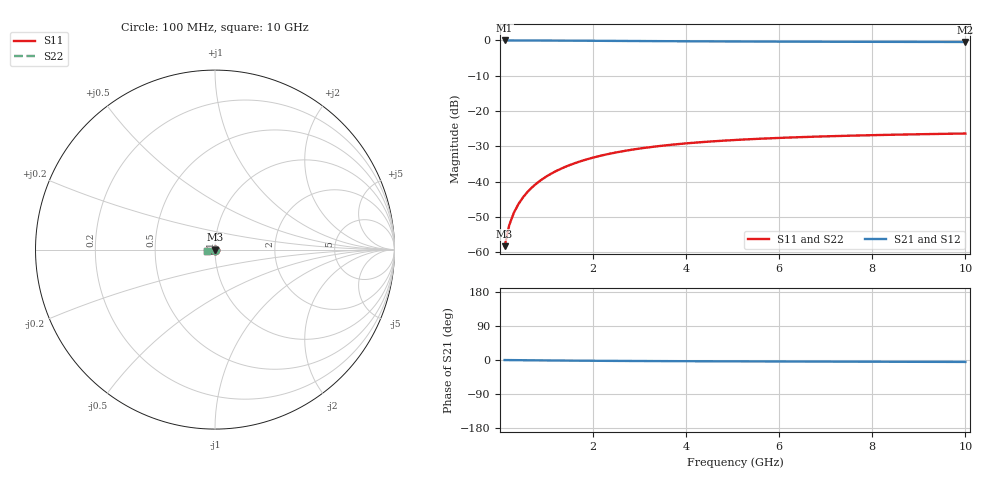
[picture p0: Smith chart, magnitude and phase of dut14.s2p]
! Touchstone file exported from HFSS 2024.1.0
!  File:  C:/UserFiles/LocalFiles/RDL_TSV_Batchsim/temp_TSV1_14_1779368493.aedt
!  Generated:  09:05:37 PM May 21, 2026
!  Design:  TSV1
!  Project:  temp_TSV1_14_1779368493
!  Setup:  Setup1
!  Solution:  Sweep
! Variables:
!  dtsv = 9.48um
!  hbump = 3um
!  htsv = 80.71um
!  lrdl = 252.1521522um
!  p = 40
!  p1 = 41.41um
!  t = 500um
!  trdl = 3um
!  wrdl = 24.89489489um
# GHz S MA R 50.000000
! Terminal data exported
! Port[1] = TSV22_T1
! Port[2] = TSV22_T2
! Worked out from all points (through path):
!   100 points, 100 MHz to 10 GHz, reference 50 ohm
!   highest |S21| = 0.00 dB at 100 MHz (marker M1); lowest = -0.4 dB at 10 GHz (marker M2)
!   lowest |S11| = -58.3 dB at 100 MHz (marker M3), VSWR 1.00, Z = 50 - j0.122 ohm
!   |S11| at or under -10 dB: start of sweep to end of sweep
!   |S22| runs from -58.3 to -26.4 dB; largest |S21 - S12| = 3.2e-15
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0.1  0.001223 -83.8  0.9998 -0.1  0.9998 -0.1  0.001223 -83.8
! Gamma 0 0 0 0
! Port Impedance 50 0 50 0
0.2  0.002432 -88.9  0.9997 -0.2  0.9997 -0.2  0.002432 -88.9
0.3  0.003647 -91.7  0.9995 -0.4  0.9995 -0.4  0.003647 -91.7
0.4  0.004859 -93.9  0.9993 -0.5  0.9993 -0.5  0.004859 -93.9
0.5  0.006064 -95.8  0.9989 -0.6  0.9989 -0.6  0.006064 -95.8
0.6  0.007259 -97.6  0.9986 -0.7  0.9986 -0.7  0.007259 -97.6
0.7  0.00844 -99.3  0.9982 -0.8  0.9982 -0.8  0.00844 -99.3
0.8  0.009606 -101.0  0.9977 -0.9  0.9977 -0.9  0.009606 -101.0
0.9  0.01076 -102.6  0.9972 -1.0  0.9972 -1.0  0.01076 -102.6
1.1  0.013 -105.7  0.996 -1.2  0.996 -1.2  0.013 -105.7
1.4  0.01619 -110.1  0.994 -1.5  0.994 -1.5  0.01619 -110.1
1.6  0.0182 -112.9  0.9925 -1.7  0.9925 -1.7  0.0182 -112.9
1.8  0.02011 -115.6  0.9909 -1.9  0.9909 -1.9  0.02011 -115.6
2.1  0.02279 -119.4  0.9884 -2.1  0.9884 -2.1  0.02279 -119.4
2.5  0.02599 -124.2  0.985 -2.4  0.985 -2.4  0.02599 -124.2
2.9  0.02881 -128.5  0.9817 -2.6  0.9817 -2.6  0.02881 -128.5
3.4  0.03185 -133.4  0.9778 -2.9  0.9778 -2.9  0.03185 -133.4
4.2  0.03576 -140.2  0.9722 -3.3  0.9722 -3.3  0.03576 -140.2
5.1  0.03911 -146.7  0.9669 -3.6  0.9669 -3.6  0.03911 -146.7
6.7  0.04327 -155.8  0.96 -4.1  0.96 -4.1  0.04327 -155.8
8.4  0.04618 -163.3  0.9549 -4.6  0.9549 -4.6  0.04618 -163.3
10  0.04812 -169.1  0.9515 -5.1  0.9515 -5.1  0.04812 -169.1
